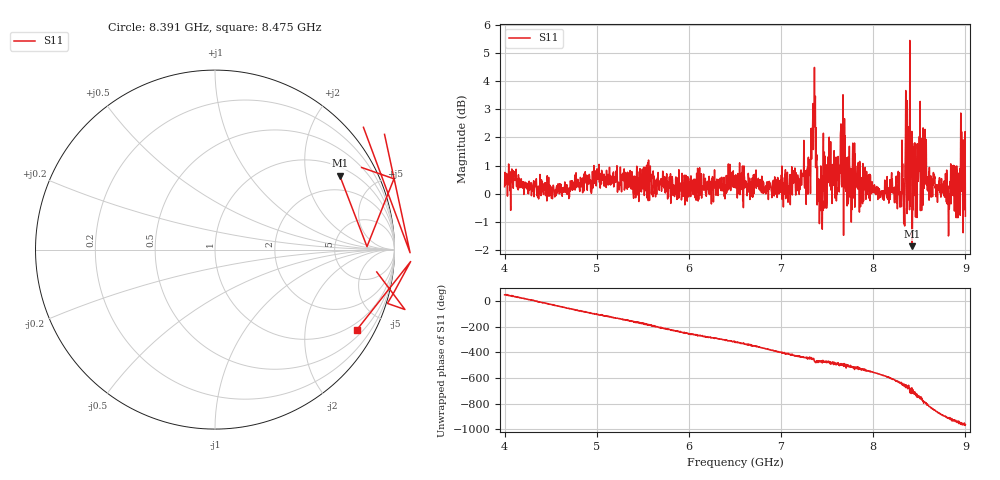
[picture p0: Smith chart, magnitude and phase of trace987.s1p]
! Created with skrf 1.8.0 (http://scikit-rf.org).
# Hz S RI R 50.0
!freq ReS11 ImS11
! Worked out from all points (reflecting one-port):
!   1601 points, 4 GHz to 9 GHz, reference 50 ohm
!   lowest |S11| = -1.9 dB at 8.422 GHz (marker M1), VSWR 9.41, Z = 66.3 + j157 ohm
!   phase of S11 starts at 50 deg and turns -1014 deg over the sweep
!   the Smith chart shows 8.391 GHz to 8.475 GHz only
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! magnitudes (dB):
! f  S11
! 4 GHz  0.3
! 4.625 GHz  -0.1
! 5.25 GHz  0.4
! 5.875 GHz  0.3
! 6.5 GHz  0.3
! 7.125 GHz  0.5
! 7.294 GHz  1.3
! 7.353 GHz  2.6
! 7.369 GHz  3.2
! 7.4 GHz  0.0
! 7.428 GHz  -0.6
! 7.525 GHz  1.2
! 7.609 GHz  0.8
! 7.669 GHz  2.1
! 7.703 GHz  0.1
! 7.75 GHz  0.2
! 8.097 GHz  0.1
! 8.294 GHz  0.1
! 8.316 GHz  0.6
! 8.375 GHz  -0.2
! 8.422 GHz  -1.9
! 8.447 GHz  1.8
! 8.459 GHz  -0.8
! 8.556 GHz  1.9
! 8.606 GHz  -0.2
! 8.812 GHz  0.3
! 8.972 GHz  0.9
! 9 GHz  -0.8
